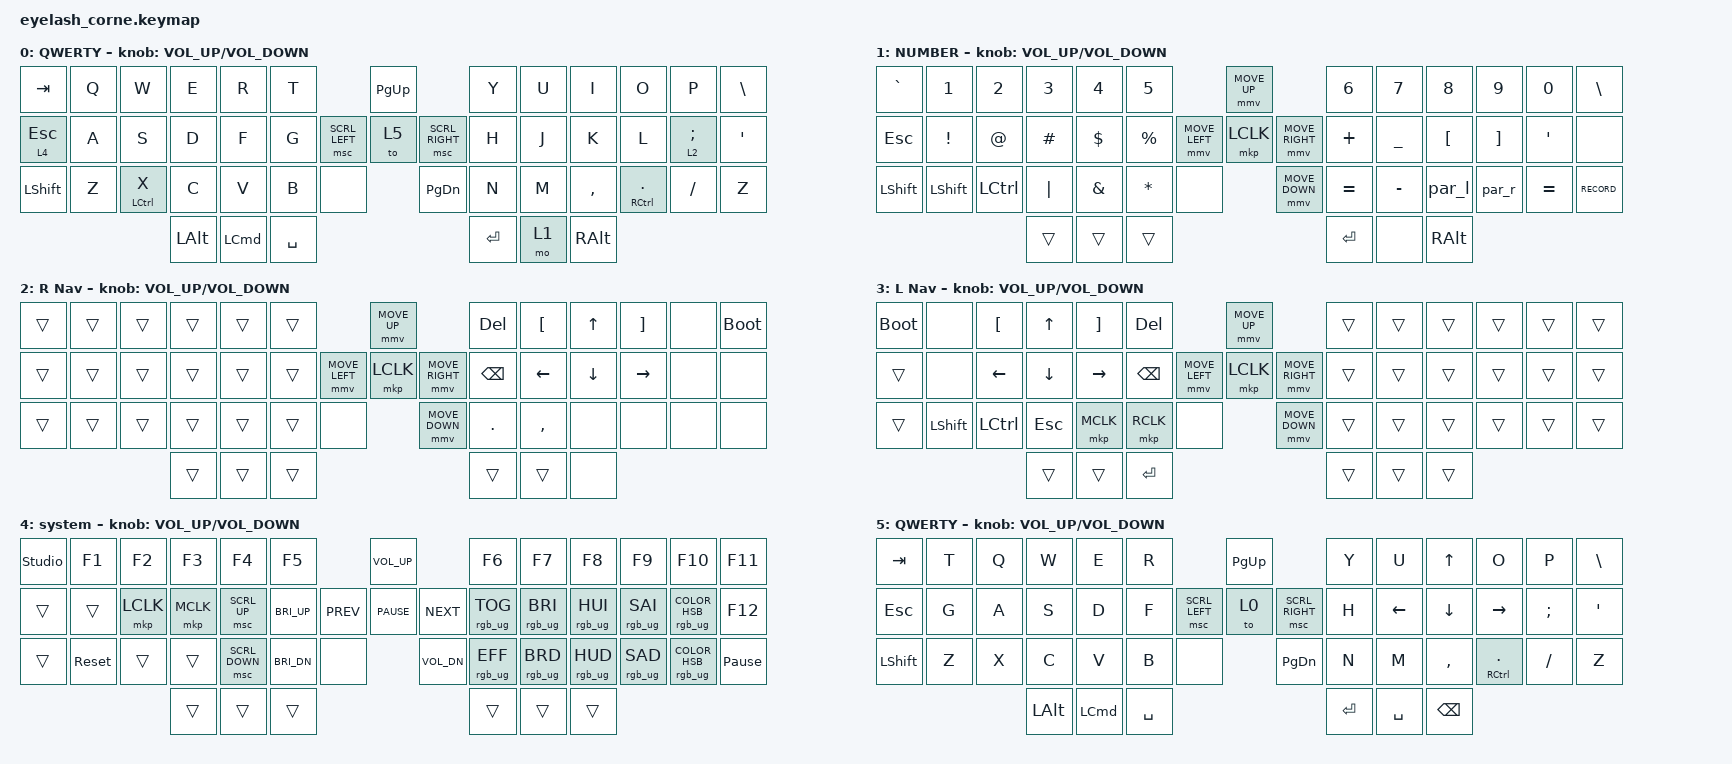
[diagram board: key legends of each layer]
#define ZMK_POINTING_DEFAULT_MOVE_VAL 1200  // 600
#define ZMK_POINTING_DEFAULT_SCRL_VAL 25   // 10

#include <input/processors.dtsi>
#include <zephyr/dt-bindings/input/input-event-codes.h>
#include <behaviors.dtsi>
#include <dt-bindings/zmk/keys.h>
#include <dt-bindings/zmk/pointing.h>
#include <dt-bindings/zmk/rgb.h>

&mmv_input_listener { input-processors = <&zip_xy_scaler 2 1>; };

&msc_input_listener { input-processors = <&zip_scroll_scaler 2 1>; };

&msc {
    acceleration-exponent = <1>;      // 0
    time-to-max-speed-ms = <100>;       // 300
    delay-ms = <0>;                   // 0
};

&mmv {
    time-to-max-speed-ms = <500>;
    acceleration-exponent = <1>;
    trigger-period-ms = <16>;
};

&mt { flavor = "balanced"; };

&lt {
};

/ {
    behaviors {
        par_l: par_l {
            compatible = "zmk,behavior-mod-morph";
            label = "PAR_L";
            bindings = <&kp LPAR>, <&kp LT>;

            #binding-cells = <0>;
            mods = <(MOD_LSFT|MOD_RSFT)>;
        };

        par_r: par_r {
            compatible = "zmk,behavior-mod-morph";
            label = "PAR_R";
            bindings = <&kp RPAR>, <&kp GT>;

            #binding-cells = <0>;
            mods = <(MOD_RSFT|MOD_LSFT)>;
        };

        ph: preffer_hold {
            compatible = "zmk,behavior-hold-tap";
            label = "Preffer hold";
            bindings = <&kp>, <&kp>;

            #binding-cells = <2>;
            tapping-term-ms = <200>;
        };
    };

    rgb_encoder: rgb_encoder {
        compatible = "zmk,behavior-sensor-rotate";
        #sensor-binding-cells = <0>;
        bindings = <&rgb_ug RGB_BRI>, <&rgb_ug RGB_BRD>;
    };

    scroll_encoder: scroll_encoder {
        compatible = "zmk,behavior-sensor-rotate";
        #sensor-binding-cells = <0>;
        bindings = <&msc SCRL_DOWN>, <&msc SCRL_UP>;

        tap-ms = <100>;
    };

    keymap {
        compatible = "zmk,keymap";

        default_layer {
            display-name = "QWERTY";
            bindings = <
&kp TAB    &kp Q  &kp W        &kp E     &kp R     &kp T                               &kp PAGE_UP                     &kp Y      &kp U  &kp I      &kp O          &kp P       &kp BACKSLASH
&lt 4 ESC  &kp A  &kp S        &kp D     &kp F     &kp G               &msc SCRL_LEFT  &to 5          &msc SCRL_RIGHT  &kp H      &kp J  &kp K      &kp L          &lt 2 SEMI  &kp SQT
&kp LSHFT  &kp Z  &mt LCTRL X  &kp C     &kp V     &kp B      &none                    &kp PAGE_DOWN                   &kp N      &kp M  &kp COMMA  &mt RCTRL DOT  &kp FSLH    &kp Z
                               &kp LALT  &kp LCMD  &kp SPACE                                                           &kp ENTER  &mo 1  &kp RALT
            >;

            sensor-bindings = <&inc_dec_kp C_VOLUME_UP C_VOLUME_DOWN>;
        };

        lower_layer {
            display-name = "NUMBER";
            bindings = <
&kp GRAVE   &kp N1     &kp N2     &kp N3    &kp N4      &kp N5                                &mmv MOVE_UP                     &kp N6     &kp N7     &kp N8    &kp N9    &kp N0     &kp BSLH
&kp ESC     &kp EXCL   &kp AT     &kp HASH  &kp DOLLAR  &kp PERCENT           &mmv MOVE_LEFT  &mkp LCLK       &mmv MOVE_RIGHT  &kp PLUS   &kp UNDER  &kp LBKT  &kp RBKT  &kp SQT    &none
&kp LSHIFT  &kp LSHFT  &kp LCTRL  &kp PIPE  &kp AMPS    &kp STAR     &none                    &mmv MOVE_DOWN                   &kp EQUAL  &kp MINUS  &par_l    &par_r    &kp EQUAL  &kp C_RECORD
                                  &trans    &trans      &trans                                                                 &kp ENTER  &none      &kp RALT
            >;

            sensor-bindings = <&inc_dec_kp C_VOLUME_UP C_VOLUME_DOWN>;
        };

        right_nav {
            display-name = "R Nav";
            bindings = <
&trans  &trans  &trans  &trans  &trans  &trans                           &mmv MOVE_UP                     &kp DEL        &kp LBKT   &kp UP    &kp RBKT   &none  &bootloader
&trans  &trans  &trans  &trans  &trans  &trans           &mmv MOVE_LEFT  &mkp LCLK       &mmv MOVE_RIGHT  &kp BACKSPACE  &kp LEFT   &kp DOWN  &kp RIGHT  &none  &none
&trans  &trans  &trans  &trans  &trans  &trans  &none                    &mmv MOVE_DOWN                   &kp DOT        &kp COMMA  &none     &none      &none  &none
                        &trans  &trans  &trans                                                            &trans         &trans     &none
            >;

            sensor-bindings = <&inc_dec_kp C_VOLUME_UP C_VOLUME_DOWN>;
        };

        left_nav {
            display-name = "L Nav";
            bindings = <
&bootloader  &none      &kp LBKT   &kp UP    &kp RBKT   &kp DEL                                 &mmv MOVE_UP                     &trans  &trans  &trans  &trans  &trans  &trans
&trans       &none      &kp LEFT   &kp DOWN  &kp RIGHT  &kp BACKSPACE           &mmv MOVE_LEFT  &mkp LCLK       &mmv MOVE_RIGHT  &trans  &trans  &trans  &trans  &trans  &trans
&trans       &kp LSHFT  &kp LCTRL  &kp ESC   &mkp MCLK  &mkp RCLK      &none                    &mmv MOVE_DOWN                   &trans  &trans  &trans  &trans  &trans  &trans
                                   &trans    &trans     &kp ENTER                                                                &trans  &trans  &trans
            >;

            sensor-bindings = <&inc_dec_kp C_VOLUME_UP C_VOLUME_DOWN>;
        };

        system {
            display-name = "system";
            bindings = <
&studio_unlock  &kp F1      &kp F2     &kp F3     &kp F4          &kp F5                             &kp C_VOL_UP              &kp F6           &kp F7           &kp F8           &kp F9           &kp F10                            &kp F11
&trans          &trans      &mkp LCLK  &mkp MCLK  &msc SCRL_UP    &kp C_BRI_UP           &kp C_PREV  &kp C_PAUSE   &kp C_NEXT  &rgb_ug RGB_TOG  &rgb_ug RGB_BRI  &rgb_ug RGB_HUI  &rgb_ug RGB_SAI  &rgb_ug RGB_COLOR_HSB(213,100,68)  &kp F12
&trans          &sys_reset  &trans     &trans     &msc SCRL_DOWN  &kp C_BRI_DN  &none                &kp C_VOL_DN              &rgb_ug RGB_EFF  &rgb_ug RGB_BRD  &rgb_ug RGB_HUD  &rgb_ug RGB_SAD  &rgb_ug RGB_COLOR_HSB(123,85,44)   &kp PAUSE_BREAK
                                       &trans     &trans          &trans                                                       &trans           &trans           &trans
            >;

            sensor-bindings = <&inc_dec_kp C_VOLUME_UP C_VOLUME_DOWN>;
        };

        game {
            display-name = "QWERTY";
            bindings = <
&kp TAB    &kp T  &kp Q  &kp W     &kp E     &kp R                               &kp PAGE_UP                     &kp Y      &kp U      &kp UP         &kp O          &kp P     &kp BACKSLASH
&kp ESC    &kp G  &kp A  &kp S     &kp D     &kp F               &msc SCRL_LEFT  &to 0          &msc SCRL_RIGHT  &kp H      &kp LEFT   &kp DOWN       &kp RIGHT      &kp SEMI  &kp SQT
&kp LSHFT  &kp Z  &kp X  &kp C     &kp V     &kp B      &none                    &kp PAGE_DOWN                   &kp N      &kp M      &kp COMMA      &mt RCTRL DOT  &kp FSLH  &kp Z
                         &kp LALT  &kp LCMD  &kp SPACE                                                           &kp ENTER  &kp SPACE  &kp BACKSPACE
            >;

            sensor-bindings = <&inc_dec_kp C_VOLUME_UP C_VOLUME_DOWN>;
        };
    };
};
